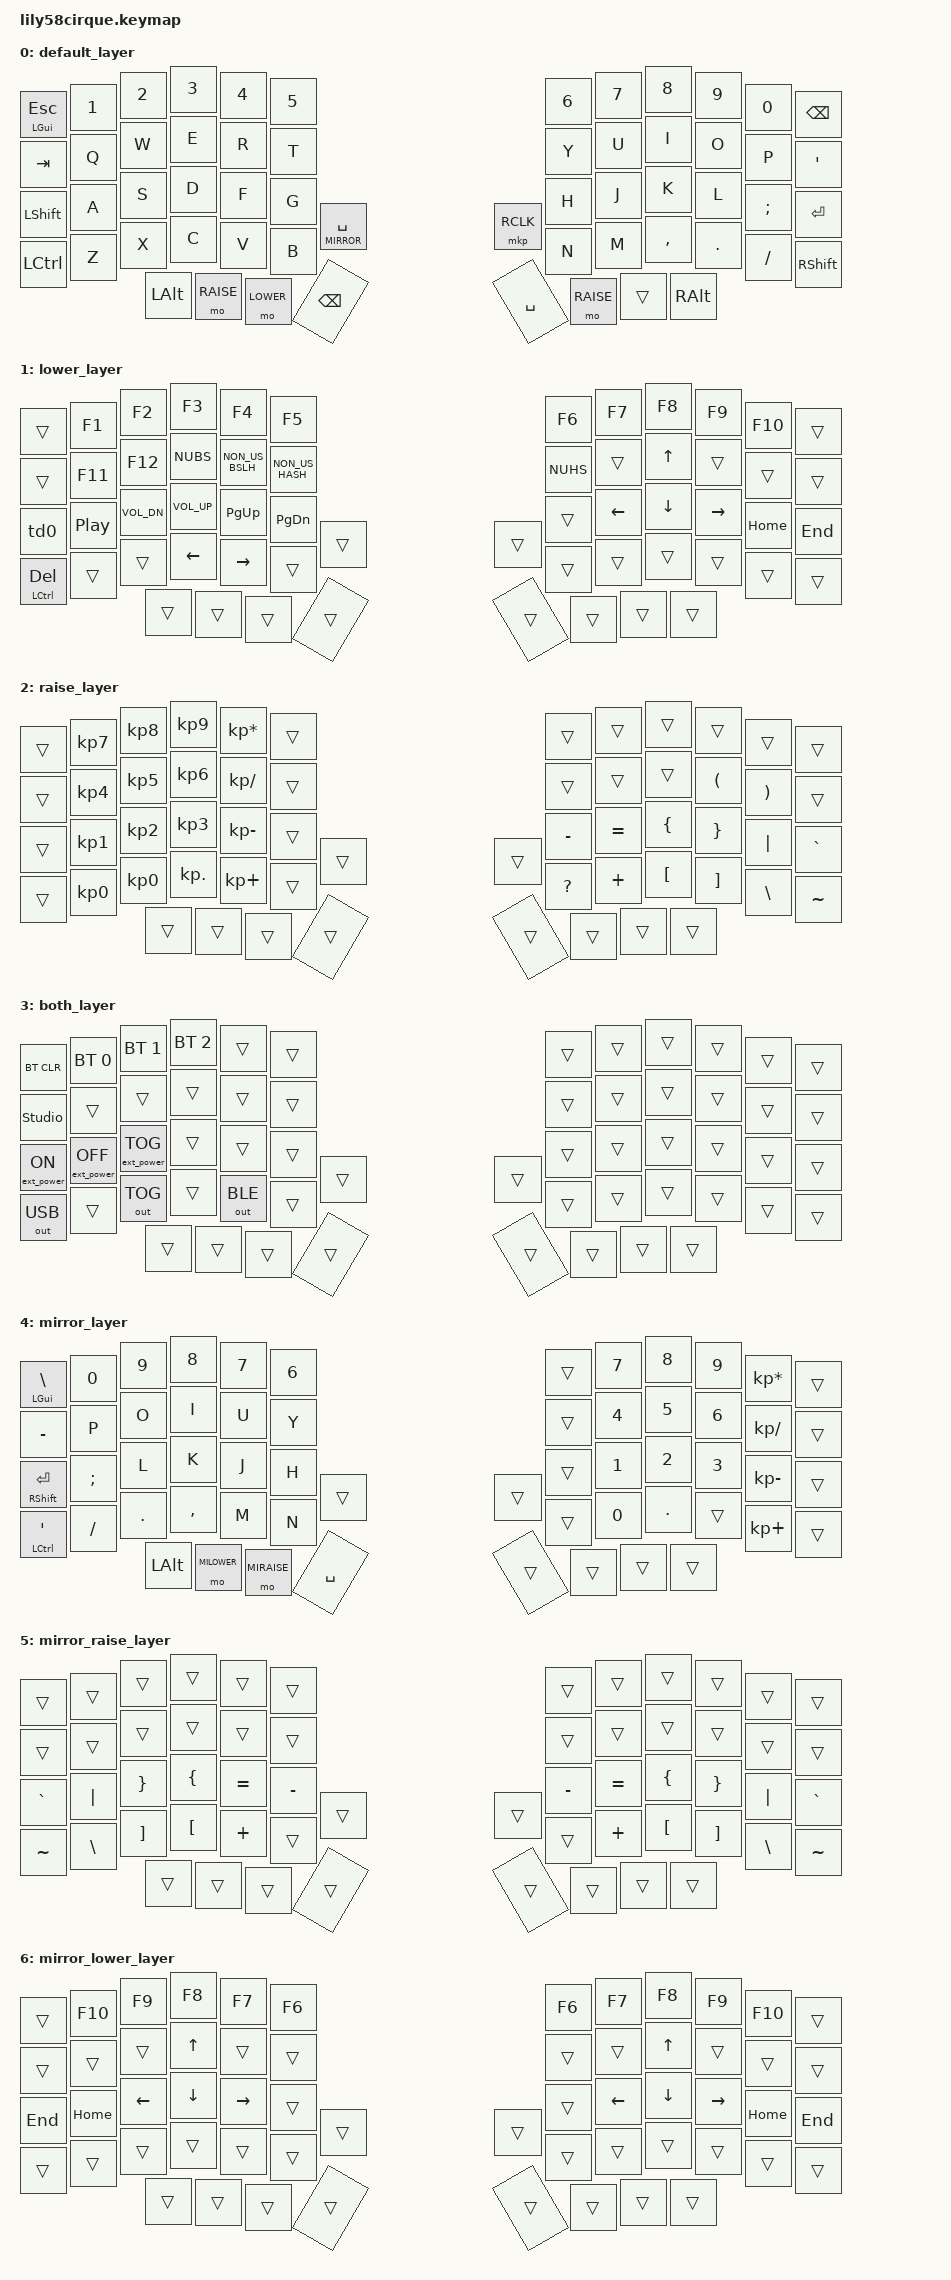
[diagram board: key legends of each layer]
/*
 * Copyright (c) 2020 The ZMK Contributors
 *
 * SPDX-License-Identifier: MIT
 */

#include <behaviors.dtsi>
#include <dt-bindings/zmk/keys.h>
#include <dt-bindings/zmk/bt.h>
#include <dt-bindings/zmk/ext_power.h>
#include <dt-bindings/zmk/outputs.h>
#include <input/processors.dtsi>
#include <dt-bindings/zmk/pointing.h>

#define DEFAULT  0
#define LOWER    1
#define RAISE    2
#define BOTH     3
#define MIRROR   4
#define MIRAISE   5
#define MILOWER   6
#define MO_TO(layer) &mo_to layer layer   // Macro to apply momentary-layer-on-hold/to-layer-on-tap to a specific layer

/ {
    conditional_layers {
        compatible = "zmk,conditional-layers";
        tri_layer {
            if-layers = <1 2>;
            then-layer = <3>;
        };
    };
};

/ {
    behaviors {
        td0: tap_dance_0 {
            compatible = "zmk,behavior-tap-dance";
            #binding-cells = <0>;
            tapping-term-ms = <200>;
            bindings = <&kp LSHIFT>, <&kp CAPSLOCK>;
        };
    };
};

&mt {
    tapping-term-ms = <200>;
};

&glidepoint_split_listener {
    //scroller {
    //    layers = <LOWER>;
        input-processors = <&zip_xy_to_scroll_mapper>, <&zip_scroll_scaler 1 9>;
    //};
};



/ {
    keymap {
        compatible = "zmk,keymap";

        default_layer {
            bindings = <
&mt LGUI ESC   &kp N1 &kp N2 &kp N3   &kp N4    &kp N5                           &kp N6    &kp N7      &kp N8    &kp N9  &kp N0   &kp BSPC
&kp TAB        &kp Q  &kp W  &kp E    &kp R     &kp T                            &kp Y     &kp U       &kp I     &kp O   &kp P    &kp SQT
&kp LSHIFT     &kp A  &kp S  &kp D    &kp F     &kp G                            &kp H     &kp J       &kp K     &kp L   &kp SEMI &kp ENTER
&kp LCTRL      &kp Z  &kp X  &kp C    &kp V     &kp B     &lt MIRROR SPACE &mkp RCLK    &kp N     &kp M       &kp COMMA &kp DOT &kp FSLH &kp RSHIFT
                             &kp LALT &mo RAISE &mo LOWER &kp BSPC     &kp SPACE &mo RAISE &trans &kp RALT
            >;
        };

        lower_layer {
            bindings = <
&trans &kp F1   &kp F2       &kp F3       &kp F4    &kp F5                  &kp F6 &kp F7   &kp F8   &kp F9    &kp F10  &trans   
&trans &kp F11  &kp F12      &kp NUBS     &kp NON_US_BSLH    &kp NON_US_HASH                  &kp NUHS &trans   &kp UP   &trans    &trans   &trans
&td0 &kp C_PP &kp C_VOL_DN &kp C_VOL_UP &kp PG_UP &kp PG_DN               &trans &kp LEFT &kp DOWN &kp RIGHT &kp HOME &kp END
&mt LCTRL DEL &trans   &trans       &kp LEFT     &kp RIGHT &trans    &trans &trans &trans &trans   &trans   &trans    &trans   &trans
                             &trans       &trans    &trans    &trans &trans &trans &trans   &trans
            >;
        };

        raise_layer {
            bindings = <
&trans &kp KP_N7 &kp KP_N8  &kp KP_N9 &kp KP_ASTERISK &trans               &trans    &trans    &trans           &trans            &trans   &trans
&trans &kp KP_N4 &kp KP_N5  &kp KP_N6 &kp KP_SLASH    &trans               &trans    &trans    &trans           &kp LPAR          &kp RPAR   &trans
&trans &kp KP_N1 &kp KP_N2  &kp KP_N3 &kp KP_MINUS    &trans               &kp MINUS &kp EQUAL &kp LEFT_BRACE   &kp RIGHT_BRACE   &kp PIPE &kp GRAVE
&trans &kp KP_N0 &kp KP_N0  &kp KP_DOT &kp KP_PLUS    &trans &trans &trans &kp QMARK &kp PLUS  &kp LEFT_BRACKET &kp RIGHT_BRACKET &kp BSLH &kp TILDE
                      &trans &trans          &trans &trans &trans &trans    &trans    &trans
            >;
        };

        both_layer {
            	bindings = <
    &bt BT_CLR       &bt BT_SEL 0      &bt BT_SEL 1      &bt BT_SEL 2 &trans       &trans               &trans &trans &trans &trans &trans &trans
    &studio_unlock           &trans            &trans            &trans       &trans       &trans               &trans &trans &trans &trans &trans &trans
    &ext_power EP_ON &ext_power EP_OFF &ext_power EP_TOG &trans       &trans       &trans               &trans &trans &trans &trans &trans &trans
    &out OUT_USB     &trans            &out OUT_TOG      &trans       &out OUT_BLE &trans &trans &trans &trans &trans &trans &trans &trans &trans
                                                         &trans       &trans       &trans &trans &trans &trans &trans &trans
            	>;
        };

        mirror_layer {
			bindings = <
&mt LGUI BSLH    &kp N0   &kp N9  &kp N8    &kp N7     &kp N6                          &trans &kp N7 &kp N8  &kp N9 &kp KP_ASTERISK &trans
&kp MINUS        &kp P    &kp O   &kp I     &kp U      &kp Y                           &trans &kp N4 &kp N5  &kp N6 &kp KP_SLASH    &trans
&mt RSHIFT ENTER &kp SEMI &kp L   &kp K     &kp J      &kp H                           &trans &kp N1 &kp N2  &kp N3 &kp KP_MINUS    &trans
&mt LCTRL SQT    &kp FSLH &kp DOT &kp COMMA &kp M      &kp N       &trans &trans &trans &kp N0 &kp DOT &trans &kp KP_PLUS     &trans
                                  &kp LALT &mo MILOWER &mo MIRAISE &kp SPACE   &trans &trans &trans &trans
			>;
		};

		mirror_raise_layer {
			bindings = <
&trans    &trans   &trans            &trans           &trans     &trans                  &trans    &trans    &trans           &trans            &trans   &trans
&trans    &trans   &trans            &trans           &trans     &trans                  &trans    &trans    &trans           &trans            &trans   &trans
&kp GRAVE &kp PIPE &kp RIGHT_BRACE   &kp LEFT_BRACE   &kp EQUAL  &kp MINUS               &kp MINUS &kp EQUAL &kp LEFT_BRACE   &kp RIGHT_BRACE   &kp PIPE &kp GRAVE
&kp TILDE &kp BSLH &kp RIGHT_BRACKET &kp LEFT_BRACKET &kp PLUS   &trans    &trans &trans &trans    &kp PLUS  &kp LEFT_BRACKET &kp RIGHT_BRACKET &kp BSLH &kp TILDE
                                     &trans           &trans     &trans    &trans &trans &trans    &trans    &trans
			>;
		};

        mirror_lower_layer {
			bindings = <
&trans  &kp F10  &kp F9    &kp F8   &kp F7   &kp F6               &kp F6 &kp F7   &kp F8   &kp F9    &kp F10  &trans   
&trans  &trans   &trans    &kp UP   &trans   &trans               &trans &trans   &kp UP   &trans    &trans   &trans
&kp END &kp HOME &kp LEFT &kp DOWN &kp RIGHT &trans               &trans &kp LEFT &kp DOWN &kp RIGHT &kp HOME &kp END
&trans  &trans   &trans    &trans   &trans   &trans &trans &trans &trans &trans   &trans   &trans    &trans   &trans
                           &trans   &trans   &trans &trans &trans &trans &trans   &trans
			>;
		};

    };
};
